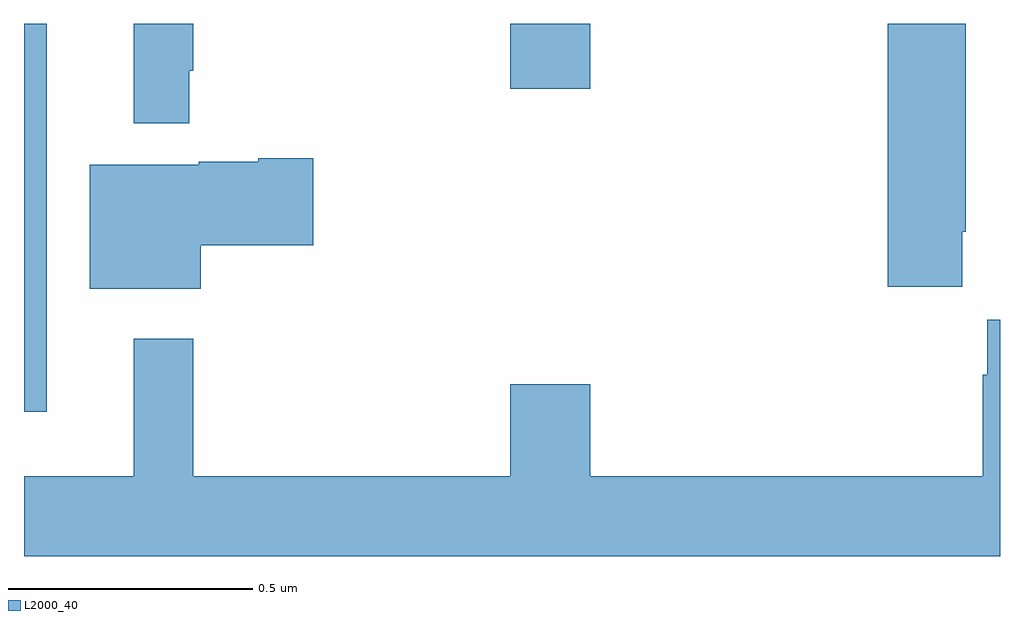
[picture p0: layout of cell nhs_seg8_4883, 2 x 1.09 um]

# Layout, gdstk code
import gdstk
lib = gdstk.Library(unit=1e-6, precision=1e-09)
def R(c, l, rs):  # rectangles x0, y0, x1, y1
    for r in rs: c.add(gdstk.rectangle(r[:2], r[2:], *l))
def P(c, l, *ps):  # polygons
    for p in ps: c.add(gdstk.Polygon(p, *l))
L2000_40 = (2000, 40)

nhs_seg8_4883 = lib.new_cell('nhs_seg8_4883')
R(nhs_seg8_4883, L2000_40, [(176,1142.105,176.047,1142.9), (176.996,1142.766,177.16,1142.9)])
P(nhs_seg8_4883, L2000_40, [(176.339,1142.803),(176.347,1142.803),(176.347,1142.9),(176.225,1142.9),(176.225,1142.696),(176.339,1142.696)],
  [(177.923,1142.473),(177.93,1142.473),(177.93,1142.9),(177.77,1142.9),(177.77,1142.361),(177.923,1142.361)],
  [(176.362,1142.446),(176.593,1142.446),(176.593,1142.624),(176.48,1142.624),(176.48,1142.617),(176.358,1142.617),(176.358,1142.611),(176.135,1142.611),(176.135,1142.357),(176.362,1142.357)],
  [(178,1142.293),(177.974,1142.293),(177.974,1142.18),(177.965,1142.18),(177.965,1141.972),(177.16,1141.972),(177.16,1142.161),(176.996,1142.161),(176.996,1141.972),(176.347,1141.972),(176.347,1142.254),(176.225,1142.254),(176.225,1141.972),(176,1141.972),(176,1141.808),(178,1141.808)])

lib.write_gds('nhs_seg8_4883.gds')
